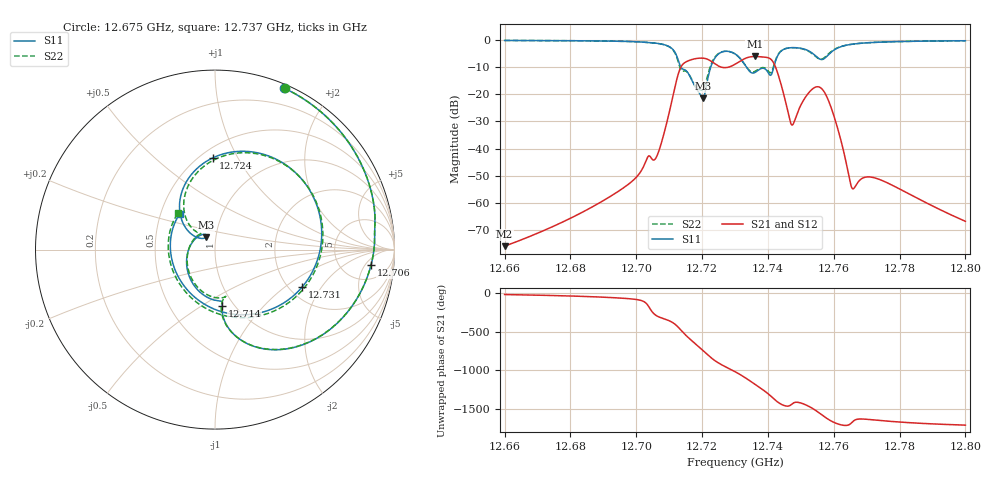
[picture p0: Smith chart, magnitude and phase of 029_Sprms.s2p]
! TOUCHSTONE file generated by CST MICROWAVE STUDIO
! Date and time: Wed Jul 31 12:07:07 2024
! Project name: WaveGuide_BPF-Ver4.1_U-shape_Ku_T3_C4_CWA_2.cst
! Parameters = {cavity_h=16; cavity_l0=10; cavity_l1=15.1734; cavity_l2=16.8326; cavity_l3=17.0806; cavity_l4=17.2487; cavity_l5=17.1513; cavity_l6=17.6187; cavity_r=2.5; cavity_screw_l=0.5; cavity_screw_r=1.5; cavity_w=8; iris_h00=0; iris_h01=8.8044; iris_h112=0; iris_h12=5.5903; iris_h211=3.6571; 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
! Header version: 2018
! Port assignment regex: !\s*Touchstone port\s*([0-9]+)\s*=\s*(CST MWS port|CST DS port)\s*([0-9]+|Zmin|Zmax)\s*\(\"(.*)\"\)(\s*mode\s*([0-9]+))?.*
! Touchstone port assignment:
! Touchstone port 1 = CST MWS port 1 ("")
! Touchstone port 2 = CST MWS port 2 ("")
# GHz S RI R 50
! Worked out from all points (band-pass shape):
!   5001 points, 12.66 GHz to 12.8 GHz, reference 50 ohm
!   highest |S21| = -6.04 dB at 12.736 GHz (marker M1); lowest = -76.0 dB at 12.66 GHz (marker M2)
!   |S21| within 3 dB of the highest: 12.71405 GHz to 12.72424 GHz (10.19 MHz wide, 0.0801 % of centre); 12.72981 GHz to 12.742 GHz (12.19 MHz wide, 0.0957 % of centre)
!   lowest |S11| = -21.5 dB at 12.72 GHz (marker M3), VSWR 1.18, Z = 44.8 + j6.1 ohm
!   |S11| at or under -10 dB: 12.71356 GHz to 12.72262 GHz (9.063 MHz wide, 0.0713 % of centre); 12.73349 GHz to 12.74177 GHz (8.286 MHz wide, 0.0651 % of centre)
!   |S22| runs from -18.5 to -0.1 dB; largest |S21 - S12| = 1e-09
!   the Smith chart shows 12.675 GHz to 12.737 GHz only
!   S11 on the Smith chart (normalised r, x): 12.675 GHz: 0.04, +1.51; 12.706 GHz: 10, -7; 12.714 GHz: 0.88, -0.62; 12.724 GHz: 0.58, +0.80; 12.731 GHz: 2.36, -1.35; 12.737 GHz: 0.63, +0.27
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12.66  0.1838 0.968  0.000154 -3.98e-05  0.000154 -3.98e-05  0.1879 0.9672
12.67512  0.3837 0.9003  0.000334 -0.000175  0.000334 -0.000175  0.3875 0.8988
12.68335  0.5236 0.819  0.00052 -0.000404  0.00052 -0.000404  0.5271 0.8168
12.70623  0.8693 -0.0865  0.00261 0.00671  0.00261 0.00671  0.8674 -0.093
12.70668  0.8562 -0.1311  0.00436 0.00718  0.00436 0.00718  0.8537 -0.1379
12.71354  0.04 -0.3154  -0.1371 -0.2849  -0.1371 -0.2849  0.045 -0.2786
12.71732  -0.1562 -0.0372  0.00122 0.446  0.00122 0.446  -0.1552 -0.062
12.72026  -0.0501 0.0675  0.4303 -0.1752  0.4303 -0.1752  -0.0828 0.0904
12.72437  -0.00915 0.5126  -0.3391 -0.0832  -0.3391 -0.0832  0.0492 0.5224
12.73  0.5453 -0.1184  0.1545 0.3235  0.1545 0.3235  0.5286 -0.1698
12.73053  0.4873 -0.2064  0.2303 0.2957  0.2303 0.2957  0.4614 -0.2527
12.73602  -0.2483 0.0448  -0.0684 -0.4942  -0.0684 -0.4942  -0.259 0.0536
12.73711  -0.1958 0.2002  -0.318 -0.3804  -0.318 -0.3804  -0.2062 0.2036
12.74086  0.0327 0.2224  -0.1384 0.4234  -0.1384 0.4234  0.0286 0.2496
12.74383  0.3367 0.5125  0.1646 0.0184  0.1646 0.0184  0.3547 0.508
12.74708  0.725 -0.0251  0.0281 -0.00176  0.0281 -0.00176  0.7219 -0.0443
12.75335  -0.3022 -0.4984  0.0835 -0.0902  0.0835 -0.0902  -0.3424 -0.4539
12.75719  -0.0289 0.4583  -0.103 -0.0358  -0.103 -0.0358  0.032 0.475
12.76105  0.6868 -0.1751  -0.00826 0.0238  -0.00826 0.0238  0.6897 -0.1981
12.76567  0.272 -0.7957  -0.00121 0.00137  -0.00121 0.00137  0.2649 -0.7998
12.77668  -0.6303 -0.6827  -0.00178 0.00142  -0.00178 0.00142  -0.6344 -0.6789
12.8  -0.9718 0.0493  -5.13e-06 0.000456  -5.13e-06 0.000456  -0.9716 0.0553
